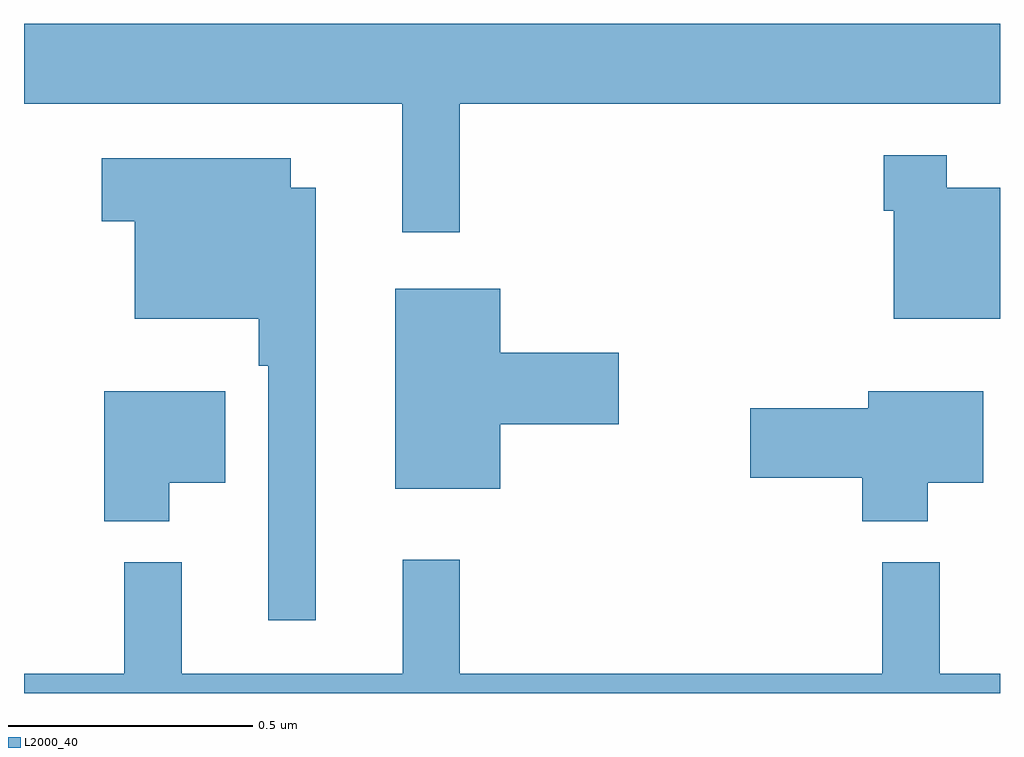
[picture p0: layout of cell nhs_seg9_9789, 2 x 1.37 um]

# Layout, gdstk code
import gdstk
lib = gdstk.Library(unit=1e-6, precision=1e-09)
def P(c, l, *ps):  # polygons
    for p in ps: c.add(gdstk.Polygon(p, *l))
L2000_40 = (2000, 40)

nhs_seg9_9789 = lib.new_cell('nhs_seg9_9789')
P(nhs_seg9_9789, L2000_40, [(234.893,1241.708),(236,1241.708),(236,1241.872),(234,1241.872),(234,1241.708),(234.775,1241.708),(234.775,1241.445),(234.893,1241.445)],
  [(236,1241.536),(235.891,1241.536),(235.891,1241.602),(235.762,1241.602),(235.762,1241.489),(235.782,1241.489),(235.782,1241.267),(236,1241.267)],
  [(234.598,1241.536),(234.547,1241.536),(234.547,1241.596),(234.159,1241.596),(234.159,1241.467),(234.227,1241.467),(234.227,1241.267),(234.481,1241.267),(234.481,1241.171),(234.501,1241.171),(234.501,1240.65),(234.598,1240.65)],
  [(234.976,1241.051),(235.219,1241.051),(235.219,1241.198),(234.976,1241.198),(234.976,1241.329),(234.761,1241.329),(234.761,1240.919),(234.976,1240.919)],
  [(234.298,1240.931),(234.412,1240.931),(234.412,1241.119),(234.164,1241.119),(234.164,1240.853),(234.298,1240.853)],
  [(235.852,1240.931),(235.966,1240.931),(235.966,1241.119),(235.73,1241.119),(235.73,1241.084),(235.488,1241.084),(235.488,1240.942),(235.718,1240.942),(235.718,1240.853),(235.852,1240.853)],
  [(236,1240.54),(235.877,1240.54),(235.877,1240.768),(235.759,1240.768),(235.759,1240.54),(234.893,1240.54),(234.893,1240.774),(234.776,1240.774),(234.776,1240.54),(234.323,1240.54),(234.323,1240.768),(234.205,1240.768),(234.205,1240.54),(234,1240.54),(234,1240.5),(236,1240.5)])

lib.write_gds('nhs_seg9_9789.gds')
